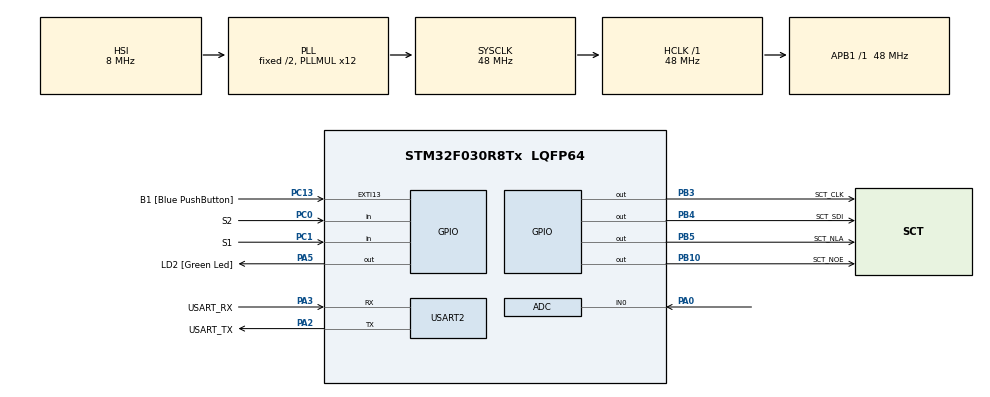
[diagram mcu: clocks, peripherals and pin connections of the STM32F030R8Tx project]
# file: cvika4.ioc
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ADC.ContinuousConvMode=ENABLE
ADC.Overrun=ADC_OVR_DATA_OVERWRITTEN
ADC.SamplingTime=ADC_SAMPLETIME_239CYCLES_5
Mcu.Family=STM32F0
Mcu.Name=STM32F030R8Tx
Mcu.Package=LQFP64
NVIC.ADC1_IRQn=true\:0\:0\:false\:false\:true\:true\:true\:true
PA0.Mode=IN0
PA0.Signal=ADC_IN0
PA13.GPIO_Label=TMS
PA13.Mode=Serial_Wire
PA13.Signal=SYS_SWDIO
PA14.GPIO_Label=TCK
PA14.Mode=Serial_Wire
PA14.Signal=SYS_SWCLK
PA2.GPIO_Label=USART_TX
PA2.GPIO_Mode=GPIO_MODE_AF_PP
PA2.GPIO_PuPd=GPIO_NOPULL
PA2.GPIO_Speed=GPIO_SPEED_FREQ_LOW
PA2.Mode=Asynchronous
PA2.Signal=USART2_TX
PA3.GPIO_Label=USART_RX
PA3.GPIO_Mode=GPIO_MODE_AF_PP
PA3.GPIO_PuPd=GPIO_NOPULL
PA3.GPIO_Speed=GPIO_SPEED_FREQ_LOW
PA3.Mode=Asynchronous
PA3.Signal=USART2_RX
PA5.GPIO_Label=LD2 [Green Led]
PA5.GPIO_Mode=GPIO_MODE_OUTPUT_PP
PA5.GPIO_PuPd=GPIO_NOPULL
PA5.GPIO_Speed=GPIO_SPEED_FREQ_LOW
PA5.Signal=GPIO_Output
PB10.GPIO_Label=SCT_NOE
PB10.Signal=GPIO_Output
PB3.GPIO_Label=SCT_CLK
PB3.Signal=GPIO_Output
PB4.GPIO_Label=SCT_SDI
PB4.Signal=GPIO_Output
PB5.GPIO_Label=SCT_NLA
PB5.Signal=GPIO_Output
PC0.GPIO_Label=S2
PC0.GPIO_PuPd=GPIO_PULLUP
PC0.Signal=GPIO_Input
PC1.GPIO_Label=S1
PC1.GPIO_PuPd=GPIO_PULLUP
PC1.Signal=GPIO_Input
PC13.GPIO_Label=B1 [Blue PushButton]
PC13.GPIO_ModeDefaultEXTI=GPIO_MODE_IT_FALLING
PC13.Signal=GPXTI13
PC14-OSC32_IN.Mode=LSE-External-Oscillator
PC14-OSC32_IN.Signal=RCC_OSC32_IN
PC15-OSC32_OUT.Mode=LSE-External-Oscillator
PC15-OSC32_OUT.Signal=RCC_OSC32_OUT
PF0-OSC_IN.Mode=HSE-External-Clock-Source
PF0-OSC_IN.Signal=RCC_OSC_IN
PF1-OSC_OUT.Signal=RCC_OSC_OUT
ProjectManager.HeapSize=0x200
ProjectManager.StackSize=0x400
ProjectManager.TargetToolchain=STM32CubeIDE
RCC.AHBFreq_Value=48000000
RCC.APB1Freq_Value=48000000
RCC.APB1TimFreq_Value=48000000
RCC.HCLKFreq_Value=48000000
RCC.PLLMUL=RCC_PLL_MUL12
RCC.SYSCLKFreq_VALUE=48000000
RCC.SYSCLKSource=RCC_SYSCLKSOURCE_PLLCLK
USART2.VirtualMode-Asynchronous=VM_ASYNC
VP_ADC_TempSens_Input.Mode=IN-TempSens
VP_ADC_Vref_Input.Mode=IN-Vrefint
board=NUCLEO-F030R8

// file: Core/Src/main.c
/* USER CODE BEGIN Header */
/**
  ******************************************************************************
  * @file           : main.c
  * @brief          : Main program body
  ******************************************************************************
  * @attention
  *
  * Copyright (c) 2024 STMicroelectronics.
  * All rights reserved.
  *
  * This software is licensed under terms that can be found in the LICENSE file
  * in the root directory of this software component.
  * If no LICENSE file comes with this software, it is provided AS-IS.
  *
  ******************************************************************************
  */
/* USER CODE END Header */
#include "main.h"

/* USER CODE BEGIN Includes */
#include "sct.h"
/* USER CODE END Includes */

/* USER CODE BEGIN PD */
#define ADC_Q 12

/* Temperature sensor calibration value address */
#define TEMP110_CAL_ADDR ((uint16_t*) ((uint32_t) 0x1FFFF7C2))
#define TEMP30_CAL_ADDR ((uint16_t*) ((uint32_t) 0x1FFFF7B8))

/* Internal voltage reference calibration value address */
#define VREFINT_CAL_ADDR ((uint16_t*) ((uint32_t) 0x1FFFF7BA))

/* USER CODE END PD */

ADC_HandleTypeDef hadc;

UART_HandleTypeDef huart2;

void SystemClock_Config(void);
static void MX_GPIO_Init(void);
static void MX_USART2_UART_Init(void);
static void MX_ADC_Init(void);

/* USER CODE BEGIN 0 */
static volatile uint32_t raw_pot;
static volatile uint32_t raw_temp;
static volatile uint32_t raw_volt;

void HAL_ADC_ConvCpltCallback(ADC_HandleTypeDef* hadc){
	static uint32_t avg_pot = 0;
	static uint32_t channel = 0;

	if(channel == 0){
		raw_pot = avg_pot >> ADC_Q;
		avg_pot -= raw_pot;
		avg_pot += HAL_ADC_GetValue(hadc);

	}else if(channel == 1){
		raw_temp = HAL_ADC_GetValue(hadc);
	}else {
		raw_volt = HAL_ADC_GetValue(hadc);
	}

	if (__HAL_ADC_GET_FLAG(hadc, ADC_FLAG_EOS)){
		channel = 0;
	}else {
		channel++;
	}

	//raw_pot = HAL_ADC_GetValue(hadc);

}

/* USER CODE END 0 */

int main(void)
{

  /* MCU Configuration--------------------------------------------------------*/

  /* Reset of all peripherals, Initializes the Flash interface and the Systick. */
  HAL_Init();

  /* Configure the system clock */
  SystemClock_Config();

  /* Initialize all configured peripherals */
  MX_GPIO_Init();
  MX_USART2_UART_Init();
  MX_ADC_Init();
  /* USER CODE BEGIN 2 */
  HAL_ADCEx_Calibration_Start(&hadc);
  HAL_ADC_Start_IT(&hadc);
  sct_init();

  /* USER CODE END 2 */

  /* Infinite loop */
  while (1)
  {

    /* USER CODE BEGIN 3 */
	  static enum { SHOW_POT, SHOW_VOLT, SHOW_TEMP } state = SHOW_POT;
	  static uint32_t tick_at_press = 0;

	  //sct_value(raw_pot*500.9/4095, raw_pot*9/4095);
	  uint8_t s1 = HAL_GPIO_ReadPin(S2_GPIO_Port, S2_Pin);
	  uint8_t s2 = HAL_GPIO_ReadPin(S1_GPIO_Port, S1_Pin);

	  if(!s1 && s2){
		  state = SHOW_TEMP;
		  tick_at_press = HAL_GetTick();

	  }else if(s1 && !s2){

		  state = SHOW_VOLT;
		  tick_at_press = HAL_GetTick();
	  }

	  switch(state){

	  case SHOW_POT:
		  sct_value(raw_pot*500.9/4095, raw_pot*9/4095);

		  break;
	  case SHOW_VOLT:
		  // S1
		  uint32_t voltage = 330 * (*VREFINT_CAL_ADDR) / raw_volt;
		  sct_value(voltage, 0);

		  break;

	  case SHOW_TEMP:
		  // S2
		  int32_t temperature = (raw_temp - (int32_t) (*TEMP30_CAL_ADDR));
		  temperature = temperature * (int32_t) (110 - 30);
		  temperature = temperature / (int32_t) (*TEMP110_CAL_ADDR - *TEMP30_CAL_ADDR);
		  temperature = temperature + 30;

		  sct_value(temperature, 0);

		  break;

	  }

	  if((tick_at_press + 1000) < HAL_GetTick()){
		  state = SHOW_POT;
	  }

	  HAL_Delay(50);

  }
  /* USER CODE END 3 */
}

void SystemClock_Config(void)
{
  RCC_OscInitTypeDef RCC_OscInitStruct = {0};
  RCC_ClkInitTypeDef RCC_ClkInitStruct = {0};

  /** Initializes the RCC Oscillators according to the specified parameters
  * in the RCC_OscInitTypeDef structure.
  */
  RCC_OscInitStruct.OscillatorType = RCC_OSCILLATORTYPE_HSI|RCC_OSCILLATORTYPE_HSI14;
  RCC_OscInitStruct.HSIState = RCC_HSI_ON;
  RCC_OscInitStruct.HSI14State = RCC_HSI14_ON;
  RCC_OscInitStruct.HSICalibrationValue = RCC_HSICALIBRATION_DEFAULT;
  RCC_OscInitStruct.HSI14CalibrationValue = 16;
  RCC_OscInitStruct.PLL.PLLState = RCC_PLL_ON;
  RCC_OscInitStruct.PLL.PLLSource = RCC_PLLSOURCE_HSI;
  RCC_OscInitStruct.PLL.PLLMUL = RCC_PLL_MUL12;
  RCC_OscInitStruct.PLL.PREDIV = RCC_PREDIV_DIV1;
  if (HAL_RCC_OscConfig(&RCC_OscInitStruct) != HAL_OK)
  {
    Error_Handler();
  }

  /** Initializes the CPU, AHB and APB buses clocks
  */
  RCC_ClkInitStruct.ClockType = RCC_CLOCKTYPE_HCLK|RCC_CLOCKTYPE_SYSCLK
                              |RCC_CLOCKTYPE_PCLK1;
  RCC_ClkInitStruct.SYSCLKSource = RCC_SYSCLKSOURCE_PLLCLK;
  RCC_ClkInitStruct.AHBCLKDivider = RCC_SYSCLK_DIV1;
  RCC_ClkInitStruct.APB1CLKDivider = RCC_HCLK_DIV1;

  if (HAL_RCC_ClockConfig(&RCC_ClkInitStruct, FLASH_LATENCY_1) != HAL_OK)
  {
    Error_Handler();
  }
}

static void MX_ADC_Init(void)
{

  ADC_ChannelConfTypeDef sConfig = {0};

  /** Configure the global features of the ADC (Clock, Resolution, Data Alignment and number of conversion)
  */
  hadc.Instance = ADC1;
  hadc.Init.ClockPrescaler = ADC_CLOCK_ASYNC_DIV1;
  hadc.Init.Resolution = ADC_RESOLUTION_12B;
  hadc.Init.DataAlign = ADC_DATAALIGN_RIGHT;
  hadc.Init.ScanConvMode = ADC_SCAN_DIRECTION_FORWARD;
  hadc.Init.EOCSelection = ADC_EOC_SINGLE_CONV;
  hadc.Init.LowPowerAutoWait = DISABLE;
  hadc.Init.LowPowerAutoPowerOff = DISABLE;
  hadc.Init.ContinuousConvMode = ENABLE;
  hadc.Init.DiscontinuousConvMode = DISABLE;
  hadc.Init.ExternalTrigConv = ADC_SOFTWARE_START;
  hadc.Init.ExternalTrigConvEdge = ADC_EXTERNALTRIGCONVEDGE_NONE;
  hadc.Init.DMAContinuousRequests = DISABLE;
  hadc.Init.Overrun = ADC_OVR_DATA_OVERWRITTEN;
  if (HAL_ADC_Init(&hadc) != HAL_OK)
  {
    Error_Handler();
  }

  /** Configure for the selected ADC regular channel to be converted.
  */
  sConfig.Channel = ADC_CHANNEL_0;
  sConfig.Rank = ADC_RANK_CHANNEL_NUMBER;
  sConfig.SamplingTime = ADC_SAMPLETIME_239CYCLES_5;
  if (HAL_ADC_ConfigChannel(&hadc, &sConfig) != HAL_OK)
  {
    Error_Handler();
  }

  /** Configure for the selected ADC regular channel to be converted.
  */
  sConfig.Channel = ADC_CHANNEL_TEMPSENSOR;
  if (HAL_ADC_ConfigChannel(&hadc, &sConfig) != HAL_OK)
  {
    Error_Handler();
  }

  /** Configure for the selected ADC regular channel to be converted.
  */
  sConfig.Channel = ADC_CHANNEL_VREFINT;
  if (HAL_ADC_ConfigChannel(&hadc, &sConfig) != HAL_OK)
  {
    Error_Handler();
  }

}

static void MX_USART2_UART_Init(void)
{

  huart2.Instance = USART2;
  huart2.Init.BaudRate = 38400;
  huart2.Init.WordLength = UART_WORDLENGTH_8B;
  huart2.Init.StopBits = UART_STOPBITS_1;
  huart2.Init.Parity = UART_PARITY_NONE;
  huart2.Init.Mode = UART_MODE_TX_RX;
  huart2.Init.HwFlowCtl = UART_HWCONTROL_NONE;
  huart2.Init.OverSampling = UART_OVERSAMPLING_16;
  huart2.Init.OneBitSampling = UART_ONE_BIT_SAMPLE_DISABLE;
  huart2.AdvancedInit.AdvFeatureInit = UART_ADVFEATURE_NO_INIT;
  if (HAL_UART_Init(&huart2) != HAL_OK)
  {
    Error_Handler();
  }

}

static void MX_GPIO_Init(void)
{
  GPIO_InitTypeDef GPIO_InitStruct = {0};

  /* GPIO Ports Clock Enable */
  __HAL_RCC_GPIOC_CLK_ENABLE();
  __HAL_RCC_GPIOF_CLK_ENABLE();
  __HAL_RCC_GPIOA_CLK_ENABLE();
  __HAL_RCC_GPIOB_CLK_ENABLE();

  /*Configure GPIO pin Output Level */
  HAL_GPIO_WritePin(LD2_GPIO_Port, LD2_Pin, GPIO_PIN_RESET);

  /*Configure GPIO pin Output Level */
  HAL_GPIO_WritePin(GPIOB, SCT_NOE_Pin|SCT_CLK_Pin|SCT_SDI_Pin|SCT_NLA_Pin, GPIO_PIN_RESET);

  /*Configure GPIO pin : B1_Pin */
  GPIO_InitStruct.Pin = B1_Pin;
  GPIO_InitStruct.Mode = GPIO_MODE_IT_FALLING;
  GPIO_InitStruct.Pull = GPIO_NOPULL;
  HAL_GPIO_Init(B1_GPIO_Port, &GPIO_InitStruct);

  /*Configure GPIO pins : S2_Pin S1_Pin */
  GPIO_InitStruct.Pin = S2_Pin|S1_Pin;
  GPIO_InitStruct.Mode = GPIO_MODE_INPUT;
  GPIO_InitStruct.Pull = GPIO_PULLUP;
  HAL_GPIO_Init(GPIOC, &GPIO_InitStruct);

  /*Configure GPIO pin : LD2_Pin */
  GPIO_InitStruct.Pin = LD2_Pin;
  GPIO_InitStruct.Mode = GPIO_MODE_OUTPUT_PP;
  GPIO_InitStruct.Pull = GPIO_NOPULL;
  GPIO_InitStruct.Speed = GPIO_SPEED_FREQ_LOW;
  HAL_GPIO_Init(LD2_GPIO_Port, &GPIO_InitStruct);

  /*Configure GPIO pins : SCT_NOE_Pin SCT_CLK_Pin SCT_SDI_Pin SCT_NLA_Pin */
  GPIO_InitStruct.Pin = SCT_NOE_Pin|SCT_CLK_Pin|SCT_SDI_Pin|SCT_NLA_Pin;
  GPIO_InitStruct.Mode = GPIO_MODE_OUTPUT_PP;
  GPIO_InitStruct.Pull = GPIO_NOPULL;
  GPIO_InitStruct.Speed = GPIO_SPEED_FREQ_LOW;
  HAL_GPIO_Init(GPIOB, &GPIO_InitStruct);

}

void Error_Handler(void)
{
  __disable_irq();
  while (1)
  {
  }
}
